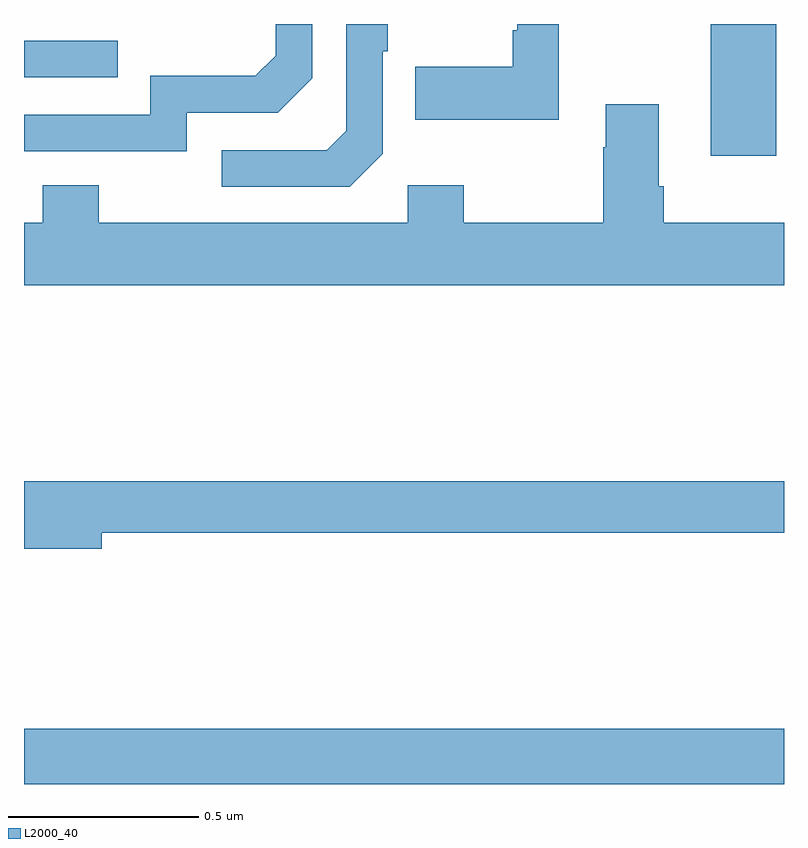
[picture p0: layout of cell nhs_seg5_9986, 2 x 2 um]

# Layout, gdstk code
import gdstk
lib = gdstk.Library(unit=1e-6, precision=1e-09)
def R(c, l, rs):  # rectangles x0, y0, x1, y1
    for r in rs: c.add(gdstk.rectangle(r[:2], r[2:], *l))
def P(c, l, *ps):  # polygons
    for p in ps: c.add(gdstk.Polygon(p, *l))
L2000_40 = (2000, 40)

nhs_seg5_9986 = lib.new_cell('nhs_seg5_9986')
R(nhs_seg5_9986, L2000_40, [(241,836.799,243,836.944), (242.807,838.452,242.98,838.799), (241,838.659,241.247,838.755)])
P(nhs_seg5_9986, L2000_40, [(241.428,838.566),(241.668,838.566),(241.758,838.656),(241.758,838.799),(241.662,838.799),(241.662,838.716),(241.609,838.663),(241.332,838.663),(241.332,838.56),(241,838.56),(241,838.464),(241.428,838.464)],
  [(242.407,838.799),(242.298,838.799),(242.298,838.783),(242.286,838.783),(242.286,838.687),(242.029,838.687),(242.029,838.547),(242.407,838.547)],
  [(241.944,838.458),(241.944,838.727),(241.957,838.727),(241.957,838.799),(241.848,838.799),(241.848,838.518),(241.797,838.467),(241.521,838.467),(241.521,838.371),(241.857,838.371)],
  [(243,838.276),(242.684,838.276),(242.684,838.372),(242.671,838.372),(242.671,838.588),(242.531,838.588),(242.531,838.475),(242.524,838.475),(242.524,838.276),(242.157,838.276),(242.157,838.375),(242.01,838.375),(242.01,838.276),(241.197,838.276),(241.197,838.375),(241.049,838.375),(241.049,838.276),(241,838.276),(241,838.112),(243,838.112)],
  [(241.204,837.46),(243,837.46),(243,837.596),(241,837.596),(241,837.418),(241.204,837.418)])

lib.write_gds('nhs_seg5_9986.gds')
